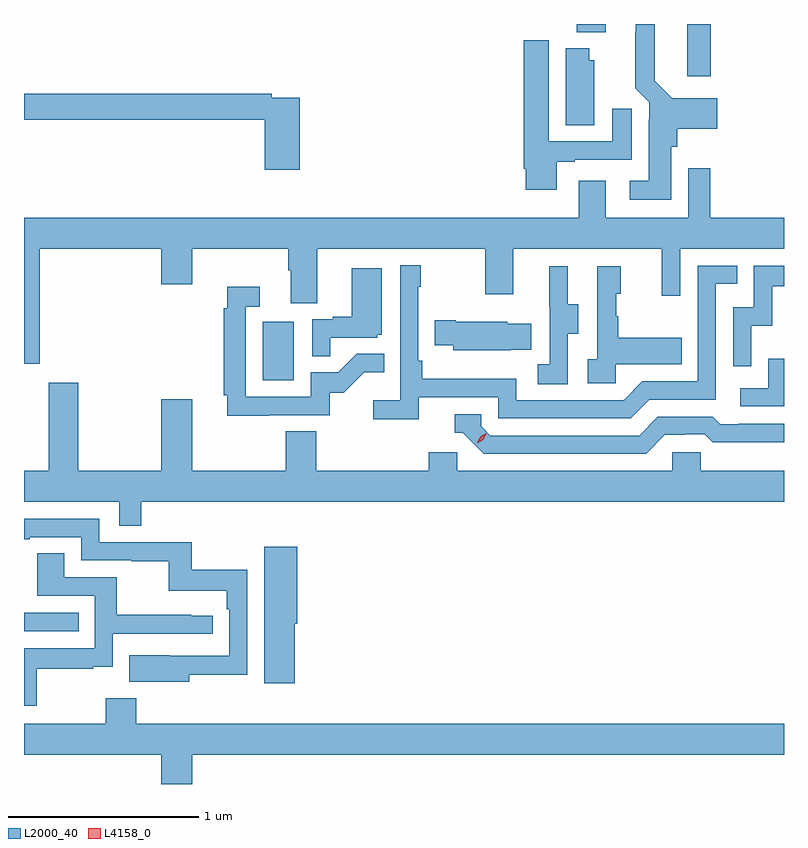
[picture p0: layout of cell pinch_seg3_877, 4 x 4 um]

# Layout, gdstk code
import gdstk
lib = gdstk.Library(unit=1e-6, precision=1e-09)
def R(c, l, rs):  # rectangles x0, y0, x1, y1
    for r in rs: c.add(gdstk.rectangle(r[:2], r[2:], *l))
def P(c, l, *ps):  # polygons
    for p in ps: c.add(gdstk.Polygon(p, *l))
L2000_40 = (2000, 40)
L4158_0 = (4158, 0)

pinch_seg3_877 = lib.new_cell('pinch_seg3_877')
R(pinch_seg3_877, L2000_40, [(835.614,705.564,835.901,705.66), (836.87,706.884,837.034,707.191), (839.105,708.483,839.228,708.759), (838.523,708.716,838.675,708.759)])
P(pinch_seg3_877, L2000_40, [(839.02,708.114),(839.051,708.114),(839.051,708.209),(839.263,708.209),(839.263,708.367),(839.025,708.367),(838.933,708.46),(838.933,708.759),(838.835,708.759),(838.835,708.713),(838.831,708.713),(838.831,708.422),(838.905,708.348),(838.905,708.254),(838.901,708.254),(838.901,707.935),(838.803,707.935),(838.803,707.834),(839.02,707.834)],
  [(838.417,708.033),(838.513,708.033),(838.513,708.045),(838.813,708.045),(838.813,708.313),(838.709,708.313),(838.709,708.141),(838.375,708.141),(838.375,708.673),(838.244,708.673),(838.244,707.998),(838.256,707.998),(838.256,707.886),(838.417,707.886)],
  [(838.615,708.567),(838.588,708.567),(838.588,708.631),(838.466,708.631),(838.466,708.226),(838.615,708.226)],
  [(837.065,708.372),(836.918,708.372),(836.918,708.392),(835.614,708.392),(835.614,708.256),(836.882,708.256),(836.882,707.991),(837.065,707.991)],
  [(835.696,707.576),(836.336,707.576),(836.336,707.388),(836.5,707.388),(836.5,707.576),(837.005,707.576),(837.005,707.464),(837.017,707.464),(837.017,707.29),(837.157,707.29),(837.157,707.576),(838.042,707.576),(838.042,707.337),(838.189,707.337),(838.189,707.576),(838.97,707.576),(838.97,707.328),(839.067,707.328),(839.067,707.576),(839.614,707.576),(839.614,707.74),(839.225,707.74),(839.225,708.001),(839.109,708.001),(839.109,707.74),(838.675,707.74),(838.675,707.935),(838.535,707.935),(838.535,707.74),(835.614,707.74),(835.614,706.97),(835.696,706.97)],
  [(837.692,706.794),(838.11,706.794),(838.11,706.683),(838.807,706.683),(838.906,706.782),(839.256,706.782),(839.256,707.391),(839.369,707.391),(839.369,707.487),(839.16,707.487),(839.16,706.878),(838.869,706.878),(838.77,706.779),(838.206,706.779),(838.206,706.891),(837.71,706.891),(837.71,706.987),(837.69,706.987),(837.69,707.375),(837.703,707.375),(837.703,707.488),(837.594,707.488),(837.594,706.78),(837.453,706.78),(837.453,706.678),(837.692,706.678)],
  [(839.442,707.171),(839.552,707.171),(839.552,707.379),(839.614,707.379),(839.614,707.487),(839.454,707.487),(839.454,707.268),(839.346,707.268),(839.346,706.959),(839.442,706.959)],
  [(838.476,707.128),(838.531,707.128),(838.531,707.283),(838.477,707.283),(838.477,707.485),(838.379,707.485),(838.379,707.271),(838.38,707.271),(838.38,706.967),(838.317,706.967),(838.317,706.864),(838.476,706.864)],
  [(838.728,706.967),(839.075,706.967),(839.075,707.107),(838.741,707.107),(838.741,707.222),(838.731,707.222),(838.731,707.34),(838.756,707.34),(838.756,707.485),(838.632,707.485),(838.632,706.994),(838.581,706.994),(838.581,706.869),(838.728,706.869)],
  [(837.227,707.109),(837.474,707.109),(837.474,707.124),(837.496,707.124),(837.496,707.473),(837.338,707.473),(837.338,707.218),(837.239,707.218),(837.239,707.205),(837.132,707.205),(837.132,707.011),(837.227,707.011)],
  [(836.903,706.701),(837.222,706.701),(837.222,706.818),(837.298,706.818),(837.405,706.925),(837.509,706.925),(837.509,707.024),(837.365,707.024),(837.267,706.926),(837.123,706.926),(837.123,706.797),(836.781,706.797),(836.781,707.271),(836.854,707.271),(836.854,707.377),(836.684,707.377),(836.684,707.264),(836.665,707.264),(836.665,706.804),(836.684,706.804),(836.684,706.696),(836.903,706.696)],
  [(838.175,707.045),(838.283,707.045),(838.283,707.182),(838.158,707.182),(838.158,707.191),(837.886,707.191),(837.886,707.199),(837.775,707.199),(837.775,707.069),(837.873,707.069),(837.873,707.042),(838.175,707.042)],
  [(839.614,706.996),(839.532,706.996),(839.532,706.842),(839.385,706.842),(839.385,706.746),(839.614,706.746)],
  [(836.231,706.244),(839.614,706.244),(839.614,706.408),(839.175,706.408),(839.175,706.506),(839.025,706.506),(839.025,706.408),(837.894,706.408),(837.894,706.506),(837.743,706.506),(837.743,706.408),(837.152,706.408),(837.152,706.616),(836.992,706.616),(836.992,706.408),(836.5,706.408),(836.5,706.783),(836.336,706.783),(836.336,706.408),(835.899,706.408),(835.899,706.87),(835.744,706.87),(835.744,706.408),(835.614,706.408),(835.614,706.244),(836.115,706.244),(836.115,706.117),(836.231,706.117)],
  [(838.987,706.596),(839.094,706.596),(839.094,706.599),(839.197,706.599),(839.239,706.557),(839.472,706.557),(839.472,706.559),(839.614,706.559),(839.614,706.656),(839.377,706.656),(839.377,706.653),(839.278,706.653),(839.239,706.692),(838.95,706.692),(838.851,706.593),(838.068,706.593),(838.02,706.641),(838.02,706.704),(837.881,706.704),(837.881,706.608),(837.924,706.608),(838.035,706.497),(838.888,706.497)],
  [(836.485,705.334),(836.79,705.334),(836.79,705.886),(836.497,705.886),(836.497,706.032),(836.01,706.032),(836.01,706.155),(835.614,706.155),(835.614,706.047),(835.645,706.047),(835.645,706.059),(835.914,706.059),(835.914,705.936),(836.179,705.936),(836.179,705.931),(836.376,705.931),(836.376,705.776),(836.681,705.776),(836.681,705.68),(836.694,705.68),(836.694,705.435),(836.381,705.435),(836.381,705.436),(836.167,705.436),(836.167,705.296),(836.485,705.296)],
  [(837.04,705.603),(837.052,705.603),(837.052,706.009),(836.879,706.009),(836.879,705.288),(837.04,705.288)],
  [(835.681,705.366),(835.979,705.366),(835.979,705.377),(836.082,705.377),(836.082,705.549),(836.608,705.549),(836.608,705.645),(836.495,705.645),(836.495,705.65),(836.102,705.65),(836.102,705.846),(835.825,705.846),(835.825,705.974),(835.685,705.974),(835.685,705.75),(835.986,705.75),(835.986,705.474),(835.614,705.474),(835.614,705.171),(835.681,705.171)],
  [(836.5,704.912),(839.614,704.912),(839.614,705.076),(836.204,705.076),(836.204,705.211),(836.044,705.211),(836.044,705.076),(835.614,705.076),(835.614,704.912),(836.336,704.912),(836.336,704.759),(836.5,704.759)])
P(pinch_seg3_877, L4158_0, [(837.999,706.552),(837.999,706.553),(838.015,706.586),(838.046,706.605),(838.046,706.605),(838.046,706.605),(838.03,706.572),(838,706.552)])

lib.write_gds('pinch_seg3_877.gds')
